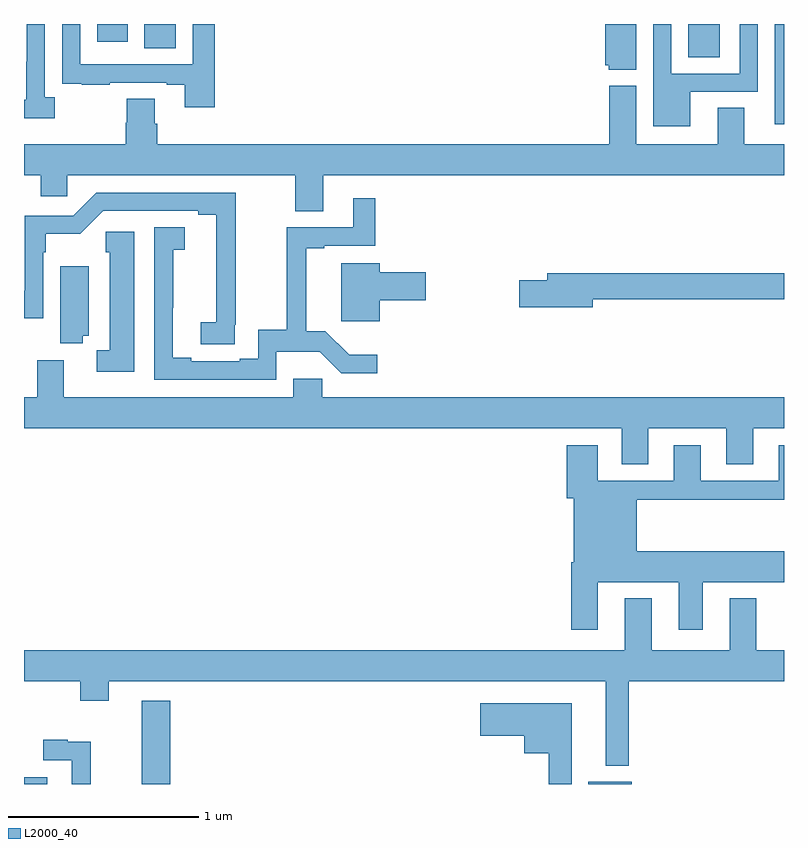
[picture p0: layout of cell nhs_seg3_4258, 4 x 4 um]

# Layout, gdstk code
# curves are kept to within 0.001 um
import gdstk
lib = gdstk.Library(unit=1e-6, precision=1e-09)
def R(c, l, rs):  # rectangles x0, y0, x1, y1
    for r in rs: c.add(gdstk.rectangle(r[:2], r[2:], *l))
def P(c, l, *ps):  # polygons
    for p in ps: c.add(gdstk.Polygon(p, *l))
L2000_40 = (2000, 40)

nhs_seg3_4258 = lib.new_cell('nhs_seg3_4258')
R(nhs_seg3_4258, L2000_40, [(337,676.4,337.123,676.435), (337.619,676.4,337.769,676.837), (339.971,676.4,340.198,676.411), (340.952,679.872,341,680.4), (340.496,680.224,340.663,680.4), (337.634,680.272,337.798,680.4), (337.385,680.307,337.546,680.4)])
P(nhs_seg3_4258, L2000_40, [(337.162,680.014),(337.11,680.014),(337.11,680.4),(337.014,680.4),(337.014,680.201),(337.013,680.201),(337.013,680.001),(337,680.001),(337,679.904),(337.162,679.904)],
  [(338.003,680.4),(337.887,680.4),(337.887,680.187),(337.296,680.187),(337.296,680.4),(337.2,680.4),(337.2,680.194),(337.201,680.194),(337.201,680.085),(337.303,680.085),(337.303,680.079),(337.451,680.079),(337.451,680.091),(337.751,680.091),(337.751,680.079),(337.847,680.079),(337.847,679.962),(338.003,679.962)],
  [(340.222,680.4),(340.058,680.4),(340.058,680.184),(340.077,680.184),(340.077,680.159),(340.222,680.159)],
  [(340.507,680.043),(340.863,680.043),(340.863,680.4),(340.767,680.4),(340.767,680.139),(340.407,680.139),(340.407,680.4),(340.311,680.4),(340.311,679.862),(340.507,679.862)],
  [(338.575,679.604),(341,679.604),(341,679.768),(340.792,679.768),(340.792,679.958),(340.652,679.958),(340.652,679.768),(340.222,679.768),(340.222,680.074),(340.079,680.074),(340.079,679.768),(337.7,679.768),(337.7,679.874),(337.687,679.874),(337.687,680.006),(337.54,680.006),(337.54,679.881),(337.535,679.881),(337.535,679.768),(337,679.768),(337,679.604),(337.088,679.604),(337.088,679.494),(337.227,679.494),(337.227,679.604),(338.428,679.604),(338.428,679.414),(338.575,679.414)],
  [(338.108,678.817),(338.114,678.817),(338.114,679.512),(337.38,679.512),(337.26,679.392),(337.005,679.392),(337.005,678.996),(337,678.996),(337,678.852),(337.101,678.852),(337.101,679.199),(337.114,679.199),(337.114,679.295),(337.295,679.295),(337.416,679.416),(337.916,679.416),(337.916,679.396),(338.012,679.396),(338.011,678.83),(337.929,678.83),(337.929,678.715),(338.108,678.715)],
  [(338.328,678.674),(338.557,678.674),(338.67,678.561),(338.86,678.561),(338.86,678.658),(338.711,678.658),(338.585,678.784),(338.486,678.784),(338.486,679.221),(338.581,679.221),(338.581,679.233),(338.849,679.233),(338.849,679.483),(338.732,679.483),(338.732,679.329),(338.383,679.329),(338.383,678.791),(338.232,678.791),(338.232,678.638),(338.135,678.638),(338.135,678.624),(337.879,678.624),(337.879,678.644),(337.783,678.644),(337.783,678.907),(337.785,678.907),(337.785,679.211),(337.846,679.211),(337.846,679.331),(337.686,679.331),(337.686,678.528),(338.328,678.528)],
  [(337.579,679.306),(337.429,679.306),(337.429,679.2),(337.451,679.2),(337.451,678.684),(337.383,678.684),(337.383,678.569),(337.579,678.569)],
  [(338.872,678.947),(339.115,678.947),(339.115,679.094),(338.872,679.094),(338.872,679.141),(338.669,679.141),(338.669,678.836),(338.872,678.836)],
  [(337.31,678.758),(337.342,678.758),(337.342,679.126),(337.19,679.126),(337.19,678.721),(337.31,678.721)],
  [(339.994,678.952),(341,678.952),(341,679.088),(339.755,679.088),(339.755,679.052),(339.606,679.052),(339.606,678.91),(339.994,678.91)],
  [(340.285,678.272),(340.697,678.272),(340.697,678.082),(340.837,678.082),(340.837,678.272),(341,678.272),(341,678.436),(338.569,678.436),(338.569,678.534),(338.417,678.534),(338.417,678.436),(337.21,678.436),(337.21,678.631),(337.07,678.631),(337.07,678.436),(337,678.436),(337,678.272),(340.145,678.272),(340.145,678.082),(340.285,678.082)],
  [(340.021,677.462),(340.445,677.462),(340.445,677.211),(340.573,677.211),(340.573,677.462),(341,677.462),(341,677.626),(340.225,677.626),(340.225,677.896),(341,677.896),(341,678.184),(340.973,678.184),(340.973,677.997),(340.561,677.997),(340.561,678.184),(340.421,678.184),(340.421,677.997),(340.021,677.997),(340.021,678.184),(339.857,678.184),(339.857,677.904),(339.893,677.904),(339.893,677.566),(339.881,677.566),(339.881,677.211),(340.021,677.211)],
  [(340.183,676.94),(341,676.94),(341,677.104),(340.855,677.104),(340.855,677.377),(340.715,677.377),(340.715,677.104),(340.303,677.104),(340.303,677.377),(340.163,677.377),(340.163,677.104),(337,677.104),(337,676.94),(337.295,676.94),(337.295,676.838),(337.447,676.838),(337.447,676.94),(340.061,676.94),(340.061,676.496),(340.183,676.496)],
  [(339.883,676.825),(339.402,676.825),(339.402,676.655),(339.632,676.655),(339.632,676.562),(339.762,676.562),(339.762,676.4),(339.883,676.4)],
  [(337.352,676.622),(337.229,676.622),(337.229,676.633),(337.101,676.633),(337.101,676.524),(337.251,676.524),(337.251,676.4),(337.352,676.4)])

lib.write_gds('nhs_seg3_4258.gds')
